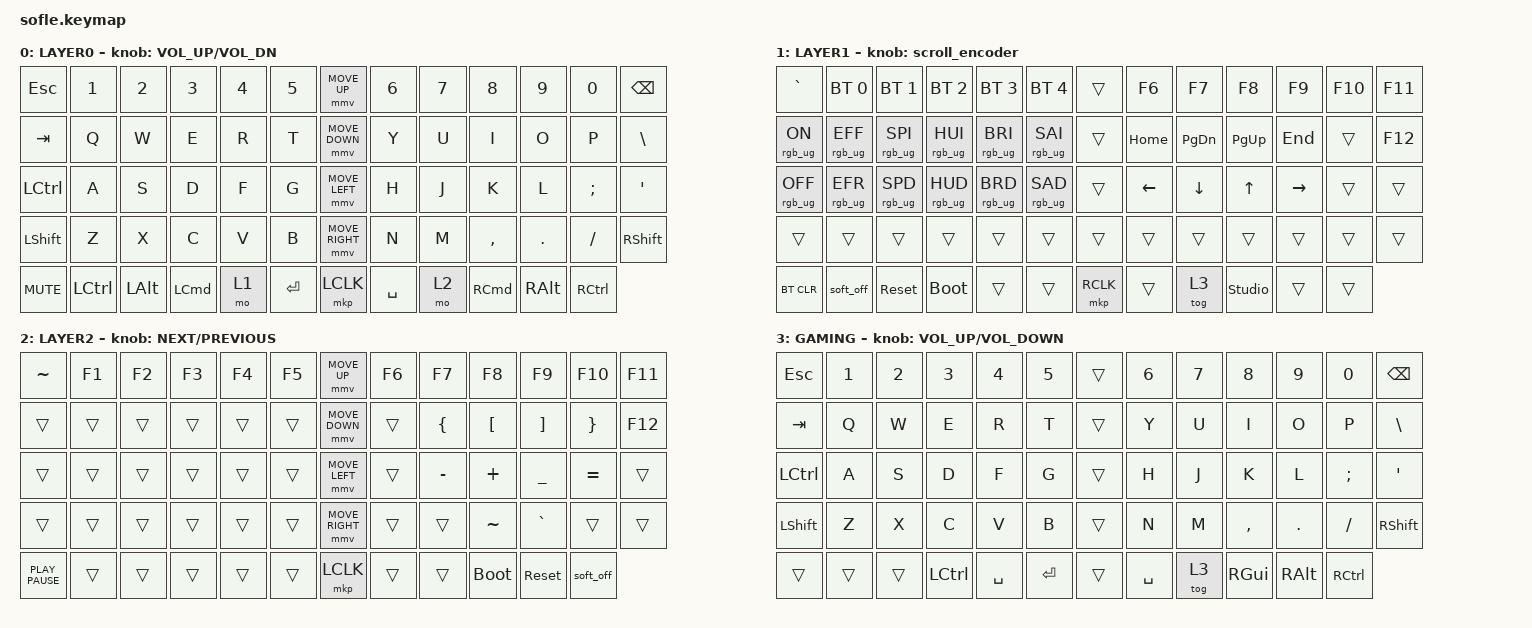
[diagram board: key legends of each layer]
#include <behaviors/mouse_keys.dtsi>
#include <dt-bindings/zmk/mouse.h>
#include <behaviors.dtsi>
#include <dt-bindings/zmk/bt.h>
#include <dt-bindings/zmk/keys.h>
#include <dt-bindings/zmk/rgb.h>

#define ZMK_MOUSE_DEFAULT_MOVE_VAL 1200  // 600
#define ZMK_MOUSE_DEFAULT_SCRL_VAL 20    // 10
#define U_MS_U &mmv MOVE_UP
#define U_MS_D &mmv MOVE_DOWN
#define U_MS_L &mmv MOVE_LEFT
#define U_MS_R &mmv MOVE_RIGHT
#define ZMK_MOUSE_DEFAULT_MOVE_VAL 1200  //  600
#define ZMK_MOUSE_DEFAULT_SCRL_VAL 20    // 10

/ {
    behaviors {
        mmv {
            acceleration-exponent = <1>;      // 1
            time-to-max-speed-ms = <900>;    // 40
            delay-ms = <0>;                   // 0
        };

        msc {
            acceleration-exponent = <1>;      // 0
            time-to-max-speed-ms = <400>;      // 500
            delay-ms = <0>;                   //   10
        };

        hm: homerow_mods {
            compatible = "zmk,behavior-hold-tap";
            #binding-cells = <2>;
            tapping-term-ms = <300>; //triggers hold after 300ms
            quick-tap-ms = <0>;
            flavor = "tap-preferred";
            bindings = <&kp>, <&kp>;
        };
    };

    scroll_encoder: scroll_encoder {
        compatible = "zmk,behavior-sensor-rotate";
        #sensor-binding-cells = <0>;
        bindings = <&msc SCRL_DOWN>, <&msc SCRL_UP>;

        tap-ms = <30>;
    };

    keymap {
        compatible = "zmk,keymap";

        layer0 {
            bindings = <
&kp ESCAPE        &kp N1     &kp N2        &kp N3            &kp N4  &kp N5       &mmv MOVE_UP     &kp N6     &kp N7  &kp N8             &kp N9         &kp N0             &kp BACKSPACE
&kp TAB           &kp Q      &kp W         &kp E             &kp R   &kp T        &mmv MOVE_DOWN   &kp Y      &kp U   &kp I              &kp O          &kp P              &kp BSLH
&kp LEFT_CONTROL  &kp A      &kp S         &kp D             &kp F   &kp G        &mmv MOVE_LEFT   &kp H      &kp J   &kp K              &kp L          &kp SEMICOLON      &kp APOS
&kp LSHFT         &kp Z      &kp X         &kp C             &kp V   &kp B        &mmv MOVE_RIGHT  &kp N      &kp M   &kp COMMA          &kp DOT        &kp FSLH           &kp RIGHT_SHIFT
&kp C_MUTE        &kp LCTRL  &kp LEFT_ALT  &kp LEFT_COMMAND  &mo 1   &kp ENTER    &mkp LCLK        &kp SPACE  &mo 2   &kp RIGHT_COMMAND  &kp RIGHT_ALT  &kp RIGHT_CONTROL
            >;

            sensor-bindings = <&inc_dec_kp C_VOLUME_UP C_VOL_DN>;
            display-name = "LAYER0";
        };

        layer1 {
            bindings = <
&kp GRAVE        &bt BT_SEL 0     &bt BT_SEL 1     &bt BT_SEL 2     &bt BT_SEL 3     &bt BT_SEL 4       &trans     &kp F6          &kp F7          &kp F8        &kp F9     &kp F10  &kp F11
&rgb_ug RGB_ON   &rgb_ug RGB_EFF  &rgb_ug RGB_SPI  &rgb_ug RGB_HUI  &rgb_ug RGB_BRI  &rgb_ug RGB_SAI    &trans     &kp HOME        &kp PAGE_DOWN   &kp PAGE_UP   &kp END    &trans   &kp F12
&rgb_ug RGB_OFF  &rgb_ug RGB_EFR  &rgb_ug RGB_SPD  &rgb_ug RGB_HUD  &rgb_ug RGB_BRD  &rgb_ug RGB_SAD    &trans     &kp LEFT_ARROW  &kp DOWN_ARROW  &kp UP_ARROW  &kp RIGHT  &trans   &trans
&trans           &trans           &trans           &trans           &trans           &trans             &trans     &trans          &trans          &trans        &trans     &trans   &trans
&bt BT_CLR       &soft_off        &sys_reset       &bootloader      &trans           &trans             &mkp RCLK  &trans          &tog 3          &studio_unlock        &trans     &trans
            >;

            display-name = "LAYER1";
            sensor-bindings = <&scroll_encoder>;
        };

        layer2 {
            bindings = <
&kp TILDE         &kp F1  &kp F2  &kp F3  &kp F4  &kp F5    &mmv MOVE_UP     &kp F6  &kp F7          &kp F8            &kp F9             &kp F10          &kp F11
&trans            &trans  &trans  &trans  &trans  &trans    &mmv MOVE_DOWN   &trans  &kp LEFT_BRACE  &kp LEFT_BRACKET  &kp RIGHT_BRACKET  &kp RIGHT_BRACE  &kp F12
&trans            &trans  &trans  &trans  &trans  &trans    &mmv MOVE_LEFT   &trans  &kp MINUS       &kp PLUS          &kp UNDERSCORE     &kp EQUAL        &trans
&trans            &trans  &trans  &trans  &trans  &trans    &mmv MOVE_RIGHT  &trans  &trans          &kp TILDE         &kp GRAVE          &trans           &trans
&kp K_PLAY_PAUSE  &trans  &trans  &trans  &trans  &trans    &mkp LCLK        &trans  &trans          &bootloader       &sys_reset         &soft_off
            >;

            sensor-bindings = <&inc_dec_kp K_NEXT K_PREVIOUS>;
            label = "LAYER2";
        };

        Gaming {
            bindings = <
&kp ESC    &kp N1  &kp N2  &kp N3     &kp N4     &kp N5     &trans  &kp N6     &kp N7  &kp N8     &kp N9    &kp N0     &kp BSPC
&kp TAB    &kp Q   &kp W   &kp E      &kp R      &kp T      &trans  &kp Y      &kp U   &kp I      &kp O     &kp P      &kp BSLH
&kp LCTRL  &kp A   &kp S   &kp D      &kp F      &kp G      &trans  &kp H      &kp J   &kp K      &kp L     &kp SEMI   &kp SQT
&kp LSHFT  &kp Z   &kp X   &kp C      &kp V      &kp B      &trans  &kp N      &kp M   &kp COMMA  &kp DOT   &kp FSLH   &kp RSHFT
&trans     &trans  &trans  &kp LCTRL  &kp SPACE  &kp RET    &trans  &kp SPACE  &tog 3  &kp RGUI   &kp RALT  &kp RCTRL
            >;

            sensor-bindings = <&inc_dec_kp K_VOLUME_UP K_VOLUME_DOWN>;
            label = "GAMING";
        };
    };
};
